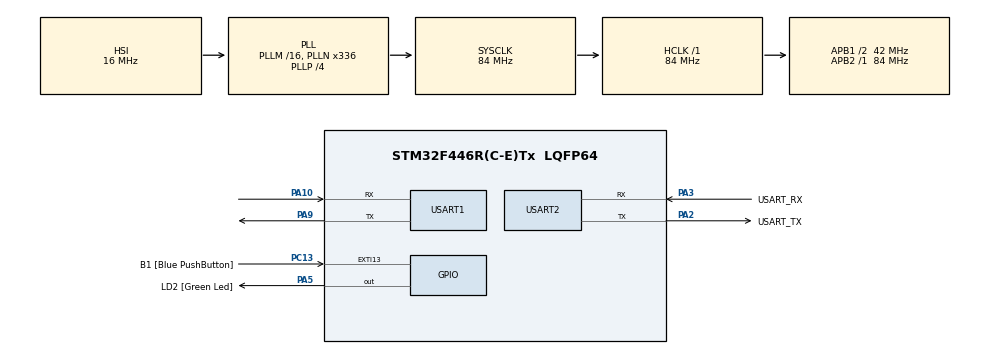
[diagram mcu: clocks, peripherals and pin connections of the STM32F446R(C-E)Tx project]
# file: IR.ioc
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Mcu.Family=STM32F4
Mcu.Name=STM32F446R(C-E)Tx
Mcu.Package=LQFP64
NVIC.PriorityGroup=NVIC_PRIORITYGROUP_0
PA10.Mode=Asynchronous
PA10.Signal=USART1_RX
PA13.GPIO_Label=TMS
PA13.Mode=Serial_Wire
PA13.Signal=SYS_JTMS-SWDIO
PA14.GPIO_Label=TCK
PA14.Mode=Serial_Wire
PA14.Signal=SYS_JTCK-SWCLK
PA2.GPIO_Label=USART_TX
PA2.Mode=Asynchronous
PA2.Signal=USART2_TX
PA3.GPIO_Label=USART_RX
PA3.Mode=Asynchronous
PA3.Signal=USART2_RX
PA5.GPIO_Label=LD2 [Green Led]
PA5.Signal=GPIO_Output
PA9.Mode=Asynchronous
PA9.Signal=USART1_TX
PB3.GPIO_Label=SWO
PB3.Signal=SYS_JTDO-SWO
PC13.GPIO_Label=B1 [Blue PushButton]
PC13.GPIO_ModeDefaultEXTI=GPIO_MODE_IT_FALLING
PC13.Signal=GPXTI13
PC14-OSC32_IN.Mode=LSE-External-Oscillator
PC14-OSC32_IN.Signal=RCC_OSC32_IN
PC15-OSC32_OUT.Mode=LSE-External-Oscillator
PC15-OSC32_OUT.Signal=RCC_OSC32_OUT
PH0-OSC_IN.Mode=HSE-External-Oscillator
PH0-OSC_IN.Signal=RCC_OSC_IN
PH1-OSC_OUT.Mode=HSE-External-Oscillator
PH1-OSC_OUT.Signal=RCC_OSC_OUT
ProjectManager.HeapSize=0x200
ProjectManager.StackSize=0x400
ProjectManager.TargetToolchain=STM32CubeIDE
RCC.48MHZClocksFreq_Value=84000000
RCC.AHBFreq_Value=84000000
RCC.APB1CLKDivider=RCC_HCLK_DIV2
RCC.APB1Freq_Value=42000000
RCC.APB1TimFreq_Value=84000000
RCC.APB2Freq_Value=84000000
RCC.APB2TimFreq_Value=84000000
RCC.CortexFreq_Value=84000000
RCC.FLatency-AdvancedSettings=FLASH_LATENCY_2
RCC.HCLKFreq_Value=84000000
RCC.HSE_VALUE=8000000
RCC.HSI_VALUE=16000000
RCC.PLLN=336
RCC.PLLP=RCC_PLLP_DIV4
RCC.SYSCLKFreq_VALUE=84000000
RCC.SYSCLKSource=RCC_SYSCLKSOURCE_PLLCLK
RCC.USBFreq_Value=168000000
RCC.VCOOutputFreq_Value=336000000
USART1.VirtualMode=VM_ASYNC
USART2.VirtualMode=VM_ASYNC
board=NUCLEO-F446RE

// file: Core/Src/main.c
/* USER CODE BEGIN Header */
/**
  ******************************************************************************
  * @file           : main.c
  * @brief          : Main program body
  ******************************************************************************
  * @attention
  *
  * Copyright (c) 2024 STMicroelectronics.
  * All rights reserved.
  *
  * This software is licensed under terms that can be found in the LICENSE file
  * in the root directory of this software component.
  * If no LICENSE file comes with this software, it is provided AS-IS.
  *
  ******************************************************************************
  */
/* USER CODE END Header */
#include "main.h"

UART_HandleTypeDef huart1;
UART_HandleTypeDef huart2;

void SystemClock_Config(void);
static void MX_GPIO_Init(void);
static void MX_USART2_UART_Init(void);
static void MX_USART1_UART_Init(void);

int main(void)
{

  /* MCU Configuration--------------------------------------------------------*/

  /* Reset of all peripherals, Initializes the Flash interface and the Systick. */
  HAL_Init();

  /* Configure the system clock */
  SystemClock_Config();

  /* Initialize all configured peripherals */
  MX_GPIO_Init();
  MX_USART2_UART_Init();
  MX_USART1_UART_Init();
  /* USER CODE BEGIN 2 */
  char IRrev;
  	int IRrev_number;
  	char IRrev1;
  	int IRrev1_number;
  	char IRrev2;
  	int IRrev2_number;
  	int IRorigin;
  	int IRAngle;
  	int IRdr;

  /* USER CODE END 2 */

  /* Infinite loop */
  while (1)
  {

    /* USER CODE BEGIN 3 */
	  while (1) {
	  			HAL_UART_Receive(&huart1, &IRrev, sizeof(IRrev), 1000);
	  			IRrev_number = (int) IRrev;
	  			if (IRrev_number == 72) {
	  				break;
	  			}
	  		}
	  		HAL_UART_Receive(&huart1, &IRrev1, sizeof(IRrev1), 1000);
	  		HAL_UART_Receive(&huart1, &IRrev2, sizeof(IRrev2), 1000);
	  		IRrev1_number = (int) IRrev1;
	  		IRrev2_number = (int) IRrev2;

	  		IRorigin = IRrev2_number * 256 + IRrev1_number;
	  		IRAngle = IRorigin * 0.01;
	  		IRdr = IRorigin % 100;
	  		IRdr = abs(IRdr);
	  		if (IRAngle >= 470) {
	  			IRAngle = IRAngle - 650;
	  		}
	  		IRAngle = IRAngle * -1;
	  	}
  }
  /* USER CODE END 3 */

void SystemClock_Config(void)
{
  RCC_OscInitTypeDef RCC_OscInitStruct = {0};
  RCC_ClkInitTypeDef RCC_ClkInitStruct = {0};

  /** Configure the main internal regulator output voltage
  */
  __HAL_RCC_PWR_CLK_ENABLE();
  __HAL_PWR_VOLTAGESCALING_CONFIG(PWR_REGULATOR_VOLTAGE_SCALE3);

  /** Initializes the RCC Oscillators according to the specified parameters
  * in the RCC_OscInitTypeDef structure.
  */
  RCC_OscInitStruct.OscillatorType = RCC_OSCILLATORTYPE_HSI;
  RCC_OscInitStruct.HSIState = RCC_HSI_ON;
  RCC_OscInitStruct.HSICalibrationValue = RCC_HSICALIBRATION_DEFAULT;
  RCC_OscInitStruct.PLL.PLLState = RCC_PLL_ON;
  RCC_OscInitStruct.PLL.PLLSource = RCC_PLLSOURCE_HSI;
  RCC_OscInitStruct.PLL.PLLM = 16;
  RCC_OscInitStruct.PLL.PLLN = 336;
  RCC_OscInitStruct.PLL.PLLP = RCC_PLLP_DIV4;
  RCC_OscInitStruct.PLL.PLLQ = 2;
  RCC_OscInitStruct.PLL.PLLR = 2;
  if (HAL_RCC_OscConfig(&RCC_OscInitStruct) != HAL_OK)
  {
    Error_Handler();
  }

  /** Initializes the CPU, AHB and APB buses clocks
  */
  RCC_ClkInitStruct.ClockType = RCC_CLOCKTYPE_HCLK|RCC_CLOCKTYPE_SYSCLK
                              |RCC_CLOCKTYPE_PCLK1|RCC_CLOCKTYPE_PCLK2;
  RCC_ClkInitStruct.SYSCLKSource = RCC_SYSCLKSOURCE_PLLCLK;
  RCC_ClkInitStruct.AHBCLKDivider = RCC_SYSCLK_DIV1;
  RCC_ClkInitStruct.APB1CLKDivider = RCC_HCLK_DIV2;
  RCC_ClkInitStruct.APB2CLKDivider = RCC_HCLK_DIV1;

  if (HAL_RCC_ClockConfig(&RCC_ClkInitStruct, FLASH_LATENCY_2) != HAL_OK)
  {
    Error_Handler();
  }
}

static void MX_USART1_UART_Init(void)
{

  huart1.Instance = USART1;
  huart1.Init.BaudRate = 115200;
  huart1.Init.WordLength = UART_WORDLENGTH_8B;
  huart1.Init.StopBits = UART_STOPBITS_1;
  huart1.Init.Parity = UART_PARITY_NONE;
  huart1.Init.Mode = UART_MODE_TX_RX;
  huart1.Init.HwFlowCtl = UART_HWCONTROL_NONE;
  huart1.Init.OverSampling = UART_OVERSAMPLING_16;
  if (HAL_UART_Init(&huart1) != HAL_OK)
  {
    Error_Handler();
  }

}

static void MX_USART2_UART_Init(void)
{

  huart2.Instance = USART2;
  huart2.Init.BaudRate = 115200;
  huart2.Init.WordLength = UART_WORDLENGTH_8B;
  huart2.Init.StopBits = UART_STOPBITS_1;
  huart2.Init.Parity = UART_PARITY_NONE;
  huart2.Init.Mode = UART_MODE_TX_RX;
  huart2.Init.HwFlowCtl = UART_HWCONTROL_NONE;
  huart2.Init.OverSampling = UART_OVERSAMPLING_16;
  if (HAL_UART_Init(&huart2) != HAL_OK)
  {
    Error_Handler();
  }

}

static void MX_GPIO_Init(void)
{
  GPIO_InitTypeDef GPIO_InitStruct = {0};

  /* GPIO Ports Clock Enable */
  __HAL_RCC_GPIOC_CLK_ENABLE();
  __HAL_RCC_GPIOH_CLK_ENABLE();
  __HAL_RCC_GPIOA_CLK_ENABLE();
  __HAL_RCC_GPIOB_CLK_ENABLE();

  /*Configure GPIO pin Output Level */
  HAL_GPIO_WritePin(LD2_GPIO_Port, LD2_Pin, GPIO_PIN_RESET);

  /*Configure GPIO pin : B1_Pin */
  GPIO_InitStruct.Pin = B1_Pin;
  GPIO_InitStruct.Mode = GPIO_MODE_IT_FALLING;
  GPIO_InitStruct.Pull = GPIO_NOPULL;
  HAL_GPIO_Init(B1_GPIO_Port, &GPIO_InitStruct);

  /*Configure GPIO pin : LD2_Pin */
  GPIO_InitStruct.Pin = LD2_Pin;
  GPIO_InitStruct.Mode = GPIO_MODE_OUTPUT_PP;
  GPIO_InitStruct.Pull = GPIO_NOPULL;
  GPIO_InitStruct.Speed = GPIO_SPEED_FREQ_LOW;
  HAL_GPIO_Init(LD2_GPIO_Port, &GPIO_InitStruct);

}

void Error_Handler(void)
{
  __disable_irq();
  while (1)
  {
  }
}
